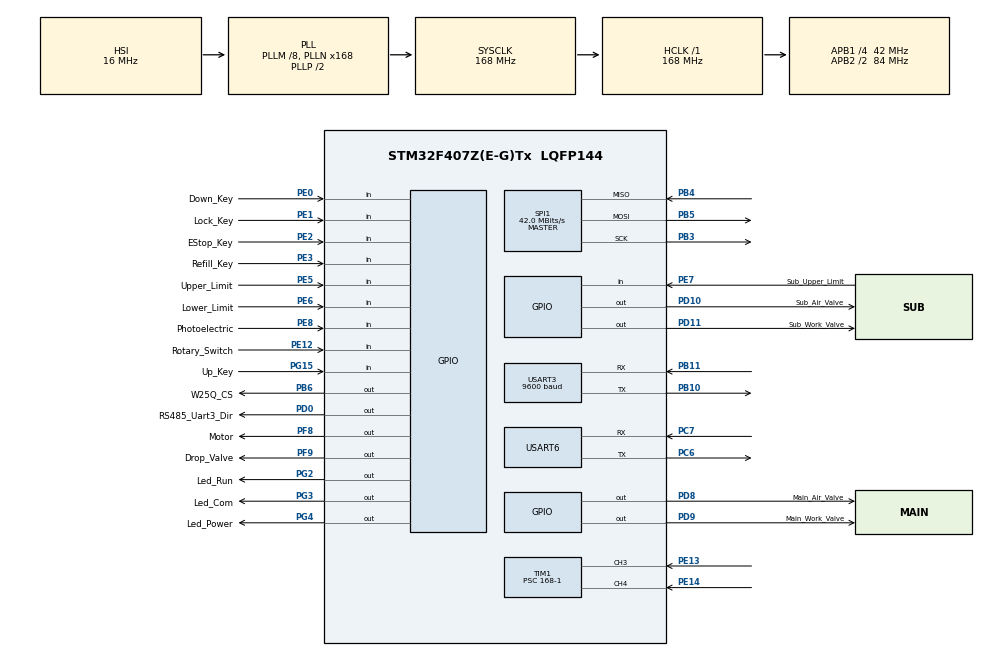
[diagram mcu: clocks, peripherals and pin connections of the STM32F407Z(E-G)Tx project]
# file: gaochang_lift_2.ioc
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Dma.Request0=USART3_TX
Dma.Request1=USART3_RX
Dma.Request2=USART6_RX
Dma.Request3=USART6_TX
Dma.USART3_RX.1.Direction=DMA_PERIPH_TO_MEMORY
Dma.USART3_RX.1.FIFOMode=DMA_FIFOMODE_DISABLE
Dma.USART3_RX.1.Instance=DMA1_Stream1
Dma.USART3_RX.1.MemDataAlignment=DMA_MDATAALIGN_BYTE
Dma.USART3_RX.1.MemInc=DMA_MINC_ENABLE
Dma.USART3_RX.1.Mode=DMA_CIRCULAR
Dma.USART3_RX.1.PeriphDataAlignment=DMA_PDATAALIGN_BYTE
Dma.USART3_RX.1.PeriphInc=DMA_PINC_DISABLE
Dma.USART3_RX.1.Priority=DMA_PRIORITY_LOW
Dma.USART3_TX.0.Direction=DMA_MEMORY_TO_PERIPH
Dma.USART3_TX.0.FIFOMode=DMA_FIFOMODE_DISABLE
Dma.USART3_TX.0.Instance=DMA1_Stream3
Dma.USART3_TX.0.MemDataAlignment=DMA_MDATAALIGN_BYTE
Dma.USART3_TX.0.MemInc=DMA_MINC_ENABLE
Dma.USART3_TX.0.Mode=DMA_NORMAL
Dma.USART3_TX.0.PeriphDataAlignment=DMA_PDATAALIGN_BYTE
Dma.USART3_TX.0.PeriphInc=DMA_PINC_DISABLE
Dma.USART3_TX.0.Priority=DMA_PRIORITY_LOW
Dma.USART6_RX.2.Direction=DMA_PERIPH_TO_MEMORY
Dma.USART6_RX.2.FIFOMode=DMA_FIFOMODE_DISABLE
Dma.USART6_RX.2.Instance=DMA2_Stream1
Dma.USART6_RX.2.MemDataAlignment=DMA_MDATAALIGN_BYTE
Dma.USART6_RX.2.MemInc=DMA_MINC_ENABLE
Dma.USART6_RX.2.Mode=DMA_CIRCULAR
Dma.USART6_RX.2.PeriphDataAlignment=DMA_PDATAALIGN_BYTE
Dma.USART6_RX.2.PeriphInc=DMA_PINC_DISABLE
Dma.USART6_RX.2.Priority=DMA_PRIORITY_LOW
Dma.USART6_TX.3.Direction=DMA_MEMORY_TO_PERIPH
Dma.USART6_TX.3.FIFOMode=DMA_FIFOMODE_DISABLE
Dma.USART6_TX.3.Instance=DMA2_Stream6
Dma.USART6_TX.3.MemDataAlignment=DMA_MDATAALIGN_BYTE
Dma.USART6_TX.3.MemInc=DMA_MINC_ENABLE
Dma.USART6_TX.3.Mode=DMA_NORMAL
Dma.USART6_TX.3.PeriphDataAlignment=DMA_PDATAALIGN_BYTE
Dma.USART6_TX.3.PeriphInc=DMA_PINC_DISABLE
Dma.USART6_TX.3.Priority=DMA_PRIORITY_LOW
FREERTOS.Tasks01=defaultTask,24,128,StartDefaultTask,Default,NULL,Dynamic,NULL,NULL
FREERTOS.configTOTAL_HEAP_SIZE=32768
Mcu.Family=STM32F4
Mcu.Name=STM32F407Z(E-G)Tx
Mcu.Package=LQFP144
NVIC.DMA1_Stream1_IRQn=true\:5\:0\:false\:false\:true\:true\:false\:true\:true
NVIC.DMA1_Stream3_IRQn=true\:5\:0\:false\:false\:true\:true\:false\:true\:true
NVIC.DMA2_Stream1_IRQn=true\:5\:0\:false\:false\:true\:true\:false\:true\:true
NVIC.DMA2_Stream6_IRQn=true\:5\:0\:false\:false\:true\:true\:false\:true\:true
NVIC.PriorityGroup=NVIC_PRIORITYGROUP_4
NVIC.TIM1_BRK_TIM9_IRQn=true\:5\:0\:false\:false\:true\:true\:true\:true\:true
NVIC.TIM1_CC_IRQn=true\:5\:0\:false\:false\:true\:true\:true\:true\:true
NVIC.TIM1_TRG_COM_TIM11_IRQn=true\:5\:0\:false\:false\:true\:true\:true\:true\:true
NVIC.TIM1_UP_TIM10_IRQn=true\:5\:0\:false\:false\:true\:true\:true\:true\:true
NVIC.TIM6_DAC_IRQn=true\:15\:0\:false\:false\:true\:false\:false\:true\:true
NVIC.TimeBase=TIM6_DAC_IRQn
NVIC.TimeBaseIP=TIM6
NVIC.USART3_IRQn=true\:5\:0\:false\:false\:true\:true\:true\:true\:true
NVIC.USART6_IRQn=true\:5\:0\:false\:false\:true\:true\:true\:true\:true
PA13.Mode=Serial_Wire
PA13.Signal=SYS_JTMS-SWDIO
PA14.Mode=Serial_Wire
PA14.Signal=SYS_JTCK-SWCLK
PB10.GPIO_PuPd=GPIO_NOPULL
PB10.Mode=Asynchronous
PB10.Signal=USART3_TX
PB11.GPIO_PuPd=GPIO_PULLUP
PB11.Mode=Asynchronous
PB11.Signal=USART3_RX
PB3.Mode=Full_Duplex_Master
PB3.Signal=SPI1_SCK
PB4.Mode=Full_Duplex_Master
PB4.Signal=SPI1_MISO
PB5.Mode=Full_Duplex_Master
PB5.Signal=SPI1_MOSI
PB6.GPIO_Label=W25Q_CS
PB6.GPIO_PuPd=GPIO_PULLUP
PB6.PinState=GPIO_PIN_SET
PB6.Signal=GPIO_Output
PC6.Mode=Asynchronous
PC6.Signal=USART6_TX
PC7.Mode=Asynchronous
PC7.Signal=USART6_RX
PD0.GPIO_Label=RS485_Uart3_Dir
PD0.Signal=GPIO_Output
PD10.GPIO_Label=Sub_Air_Valve
PD10.GPIO_PuPd=GPIO_PULLDOWN
PD10.PinState=GPIO_PIN_RESET
PD10.Signal=GPIO_Output
PD11.GPIO_Label=Sub_Work_Valve
PD11.GPIO_PuPd=GPIO_PULLDOWN
PD11.PinState=GPIO_PIN_RESET
PD11.Signal=GPIO_Output
PD8.GPIO_Label=Main_Air_Valve
PD8.GPIO_ModeDefaultOutputPP=GPIO_MODE_OUTPUT_PP
PD8.GPIO_PuPd=GPIO_PULLDOWN
PD8.GPIO_Speed=GPIO_SPEED_FREQ_LOW
PD8.PinState=GPIO_PIN_RESET
PD8.Signal=GPIO_Output
PD9.GPIO_Label=Main_Work_Valve
PD9.GPIO_ModeDefaultOutputPP=GPIO_MODE_OUTPUT_PP
PD9.GPIO_PuPd=GPIO_PULLDOWN
PD9.PinState=GPIO_PIN_RESET
PD9.Signal=GPIO_Output
PE0.GPIO_Label=Down_Key
PE0.GPIO_PuPd=GPIO_PULLUP
PE0.Signal=GPIO_Input
PE1.GPIO_Label=Lock_Key
PE1.GPIO_PuPd=GPIO_PULLUP
PE1.Signal=GPIO_Input
PE13.Signal=S_TIM1_CH3
PE14.Signal=S_TIM1_CH4
PE2.GPIO_Label=EStop_Key
PE2.GPIO_PuPd=GPIO_PULLUP
PE2.Signal=GPIO_Input
PE3.GPIO_Label=Refill_Key
PE3.GPIO_PuPd=GPIO_PULLUP
PE3.Signal=GPIO_Input
PE12.GPIO_Label=Rotary_Switch
PE12.GPIO_PuPd=GPIO_PULLUP
PE12.Signal=GPIO_Input
PE5.GPIO_Label=Upper_Limit
PE5.GPIO_PuPd=GPIO_PULLUP
PE5.Signal=GPIO_Input
PE6.GPIO_Label=Lower_Limit
PE6.GPIO_PuPd=GPIO_PULLUP
PE6.Signal=GPIO_Input
PE7.GPIO_Label=Sub_Upper_Limit
PE7.GPIO_PuPd=GPIO_PULLUP
PE7.Signal=GPIO_Input
PE8.GPIO_Label=Photoelectric
PE8.GPIO_PuPd=GPIO_PULLUP
PE8.Signal=GPIO_Input
PF8.GPIO_Label=Motor
PF8.GPIO_PuPd=GPIO_PULLDOWN
PF8.Signal=GPIO_Output
PF9.GPIO_Label=Drop_Valve
PF9.GPIO_PuPd=GPIO_PULLDOWN
PF9.Signal=GPIO_Output
PG15.GPIO_Label=Up_Key
PG15.GPIO_PuPd=GPIO_PULLUP
PG15.Signal=GPIO_Input
PG2.GPIO_Label=Led_Run
PG2.GPIO_PuPd=GPIO_PULLUP
PG2.PinState=GPIO_PIN_SET
PG2.Signal=GPIO_Output
PG3.GPIO_Label=Led_Com
PG3.GPIO_PuPd=GPIO_PULLUP
PG3.PinState=GPIO_PIN_SET
PG3.Signal=GPIO_Output
PG4.GPIO_Label=Led_Power
PG4.GPIO_PuPd=GPIO_PULLUP
PG4.PinState=GPIO_PIN_SET
PG4.Signal=GPIO_Output
ProjectManager.HeapSize=0x200
ProjectManager.StackSize=0x400
ProjectManager.TargetToolchain=MDK-ARM V5.32
RCC.48MHZClocksFreq_Value=84000000
RCC.AHBFreq_Value=168000000
RCC.APB1CLKDivider=RCC_HCLK_DIV4
RCC.APB1Freq_Value=42000000
RCC.APB1TimFreq_Value=84000000
RCC.APB2CLKDivider=RCC_HCLK_DIV2
RCC.APB2Freq_Value=84000000
RCC.APB2TimFreq_Value=168000000
RCC.CortexFreq_Value=168000000
RCC.HCLKFreq_Value=168000000
RCC.HSE_VALUE=25000000
RCC.HSI_VALUE=16000000
RCC.LSE_VALUE=32768
RCC.PLLM=8
RCC.PLLN=168
RCC.SYSCLKFreq_VALUE=168000000
RCC.SYSCLKSource=RCC_SYSCLKSOURCE_PLLCLK
RCC.VCOOutputFreq_Value=336000000
SH.S_TIM1_CH3.0=TIM1_CH3,Input_Capture3_from_TI3
SH.S_TIM1_CH4.0=TIM1_CH4,Input_Capture4_from_TI4
SPI1.CalculateBaudRate=42.0 MBits/s
SPI1.Direction=SPI_DIRECTION_2LINES
SPI1.Mode=SPI_MODE_MASTER
SPI1.VirtualType=VM_MASTER
TIM1.Channel-Input_Capture3_from_TI3=TIM_CHANNEL_3
TIM1.Channel-Input_Capture4_from_TI4=TIM_CHANNEL_4
TIM1.ICPolarity_CH3=TIM_INPUTCHANNELPOLARITY_FALLING
TIM1.ICPolarity_CH4=TIM_INPUTCHANNELPOLARITY_FALLING
TIM1.Period=65535
TIM1.Prescaler=168-1
USART3.BaudRate=9600
USART3.VirtualMode=VM_ASYNC
USART6.VirtualMode=VM_ASYNC
VP_FREERTOS_VS_CMSIS_V2.Mode=CMSIS_V2
VP_SYS_VS_tim6.Mode=TIM6
VP_TIM1_VS_ClockSourceINT.Mode=Internal
board=custom

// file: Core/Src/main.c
/* USER CODE BEGIN Header */
/**
  ******************************************************************************
  * @file           : main.c
  * @brief          : Main program body
  ******************************************************************************
  * @attention
  *
  * Copyright (c) 2026 STMicroelectronics.
  * All rights reserved.
  *
  * This software is licensed under terms that can be found in the LICENSE file
  * in the root directory of this software component.
  * If no LICENSE file comes with this software, it is provided AS-IS.
  *
  ******************************************************************************
  */
/* USER CODE END Header */
#include "main.h"
#include "cmsis_os.h"
#include "dma.h"
#include "spi.h"
#include "tim.h"
#include "usart.h"
#include "gpio.h"

/* USER CODE BEGIN Includes */
#include "FreeRTOS.h"
#include "task.h"
#include "SEGGER_RTT.h"
#include "app_w25qxx.h"
#include "app_product.h"
#include "app_io_map.h"
#include "lift_core.h"
#include "lift_iot.h"
#include "lift_lock.h"     /* 共享变量互斥锁初始化 */
/* 旧双柱头文件已注释：motor.h / encoder.h / safety.h / key.h */
/* #include "app_rs485.h" -- 屏蔽: 上机测试暂不用RS485 */
/* USER CODE END Includes */

/* USER CODE BEGIN PD */
#define BOOT_LED_SELF_TEST     1U

/* USER CODE END PD */

void SystemClock_Config(void);
void MX_FREERTOS_Init(void);

/* USER CODE BEGIN 0 */
static void App_BootLedSelfTest(void)
{
#if BOOT_LED_SELF_TEST
  LED_RUN_OFF();
  LED_COM_OFF();
  LED_POWER_OFF();
  HAL_Delay(150U);

  LED_RUN_ON();
  HAL_Delay(300U);
  LED_RUN_OFF();

  LED_COM_ON();
  HAL_Delay(300U);
  LED_COM_OFF();

  LED_POWER_ON();
  HAL_Delay(300U);
  LED_POWER_OFF();
#endif
}

/* USER CODE END 0 */

int main(void)
{

  /* MCU Configuration--------------------------------------------------------*/

  /* Reset of all peripherals, Initializes the Flash interface and the Systick. */
  HAL_Init();

  /* Configure the system clock */
  SystemClock_Config();

  /* Initialize all configured peripherals */
  MX_GPIO_Init();
  MX_DMA_Init();
  MX_TIM1_Init();
  MX_SPI1_Init();
  MX_USART3_UART_Init();
  MX_USART6_UART_Init();
  /* USER CODE BEGIN 2 */
	SEGGER_RTT_Init();
	elog_init();

	elog_set_fmt(ELOG_LVL_ASSERT, ELOG_FMT_LVL | ELOG_FMT_TAG | ELOG_FMT_TIME);
  elog_set_fmt(ELOG_LVL_ERROR, ELOG_FMT_LVL | ELOG_FMT_TAG | ELOG_FMT_TIME);
  elog_set_fmt(ELOG_LVL_WARN,  ELOG_FMT_LVL | ELOG_FMT_TAG | ELOG_FMT_TIME);
  elog_set_fmt(ELOG_LVL_INFO,  ELOG_FMT_LVL | ELOG_FMT_TAG | ELOG_FMT_TIME);
  elog_set_fmt(ELOG_LVL_DEBUG, ELOG_FMT_ALL & ~ELOG_FMT_FUNC);

	elog_start();
	App_Product_PrintUID();
  elog_i("CLOCK", "[CLOCK] sys=%lu hclk=%lu pclk1=%lu pclk2=%lu rtos_tick_hz=%lu hal_tick=TIM6_1ms",
         (unsigned long)HAL_RCC_GetSysClockFreq(),
         (unsigned long)HAL_RCC_GetHCLKFreq(),
         (unsigned long)HAL_RCC_GetPCLK1Freq(),
         (unsigned long)HAL_RCC_GetPCLK2Freq(),
         (unsigned long)configTICK_RATE_HZ);

	App_BootLedSelfTest();

	/* ===== 大剪举升机初始化序列 ===== */
	App_W25Qxx_System_Init();                    /* 加载 config + stats（内部同步 g_product_type） */
	LiftLock_Init();                         /* 共享变量互斥锁初始化（Scheduler 启动前） */
	LiftIot_Init();                          /* IoT 状态对象清零 */
	App_IO_Map_Init(g_product_type);             /* I/O 映射初始化（按产品类型） */
	LiftCore_Init();                         /* 控制框架初始化（选 ops + 记录 OP_POWER_ON） */

	/* 打印芯片出厂 UID，供工人用 J-Link RTT 读取进行设备绑定 */
	elog_i("SYS", "[SYS] System ready - product_type=%d (%s)",
	       g_product_type, App_Product_TypeName(g_product_type));

	/* 点亮电源指示灯，表示系统启动完成 */
	LED_POWER_ON();

	/* 旧双柱初始化已移除：App_W25Qxx_Height_Load / Motor_Init / Safety_Init / Key_Init / Encoder_Init */
	/* RS485_Init(); -- 屏蔽 */

  /* USER CODE END 2 */

  /* Init scheduler */
  osKernelInitialize();  /* Call init function for freertos objects (in cmsis_os2.c) */
  MX_FREERTOS_Init();

  /* Start scheduler */
  osKernelStart();

  /* We should never get here as control is now taken by the scheduler */

  /* Infinite loop */
  while (1)
  {

  }
}

void SystemClock_Config(void)
{
  RCC_OscInitTypeDef RCC_OscInitStruct = {0};
  RCC_ClkInitTypeDef RCC_ClkInitStruct = {0};

  /** Configure the main internal regulator output voltage
  */
  __HAL_RCC_PWR_CLK_ENABLE();
  __HAL_PWR_VOLTAGESCALING_CONFIG(PWR_REGULATOR_VOLTAGE_SCALE1);

  /** Initializes the RCC Oscillators according to the specified parameters
  * in the RCC_OscInitTypeDef structure.
  */
  RCC_OscInitStruct.OscillatorType = RCC_OSCILLATORTYPE_HSI;
  RCC_OscInitStruct.HSIState = RCC_HSI_ON;
  RCC_OscInitStruct.HSICalibrationValue = RCC_HSICALIBRATION_DEFAULT;
  RCC_OscInitStruct.PLL.PLLState = RCC_PLL_ON;
  RCC_OscInitStruct.PLL.PLLSource = RCC_PLLSOURCE_HSI;
  RCC_OscInitStruct.PLL.PLLM = 8;
  RCC_OscInitStruct.PLL.PLLN = 168;
  RCC_OscInitStruct.PLL.PLLP = RCC_PLLP_DIV2;
  RCC_OscInitStruct.PLL.PLLQ = 4;
  if (HAL_RCC_OscConfig(&RCC_OscInitStruct) != HAL_OK)
  {
    Error_Handler();
  }

  /** Initializes the CPU, AHB and APB buses clocks
  */
  RCC_ClkInitStruct.ClockType = RCC_CLOCKTYPE_HCLK|RCC_CLOCKTYPE_SYSCLK
                              |RCC_CLOCKTYPE_PCLK1|RCC_CLOCKTYPE_PCLK2;
  RCC_ClkInitStruct.SYSCLKSource = RCC_SYSCLKSOURCE_PLLCLK;
  RCC_ClkInitStruct.AHBCLKDivider = RCC_SYSCLK_DIV1;
  RCC_ClkInitStruct.APB1CLKDivider = RCC_HCLK_DIV4;
  RCC_ClkInitStruct.APB2CLKDivider = RCC_HCLK_DIV2;

  if (HAL_RCC_ClockConfig(&RCC_ClkInitStruct, FLASH_LATENCY_5) != HAL_OK)
  {
    Error_Handler();
  }
}

void HAL_TIM_PeriodElapsedCallback(TIM_HandleTypeDef *htim)
{
  if (htim->Instance == TIM6)
  {
    HAL_IncTick();
  }
}

void Error_Handler(void)
{
  __disable_irq();
  while (1)
  {
  }
}

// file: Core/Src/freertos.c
/* USER CODE BEGIN Header */
/**
  ******************************************************************************
  * File Name          : freertos.c
  * Description        : Code for freertos applications
  ******************************************************************************
  * @attention
  *
  * Copyright (c) 2026 STMicroelectronics.
  * All rights reserved.
  *
  * This software is licensed under terms that can be found in the LICENSE file
  * in the root directory of this software component.
  * If no LICENSE file comes with this software, it is provided AS-IS.
  *
  ******************************************************************************
  */
/* USER CODE END Header */

#include "FreeRTOS.h"
#include "task.h"
#include "main.h"
#include "cmsis_os.h"

/* USER CODE BEGIN Includes */
#include "elog.h"
#include "gpio.h"
#include "app_io_map.h"
/* #include "dri_debug.h" -- 屏蔽: 模拟编码器 */
#include "dri_lift.h"        /* 大剪控制任务（替代 dri_motor + dri_safety + dri_key） */
#include "dri_tas_dtu.h"     /* TAS DTU 任务保留 */
/* 旧双柱驱动已注释：dri_motor / dri_safety / dri_key */
/* #include "dri_rs485.h" -- 屏蔽: RS485 */
/* USER CODE END Includes */

/* Definitions for defaultTask */
osThreadId_t defaultTaskHandle;
const osThreadAttr_t defaultTask_attributes = {
  .name = "defaultTask",
  .stack_size = 128 * 4,
  .priority = (osPriority_t) osPriorityNormal,
};

void StartDefaultTask(void *argument);

void MX_FREERTOS_Init(void); /* (MISRA C 2004 rule 8.1) */

void MX_FREERTOS_Init(void) {

  /* Create the thread(s) */
  /* creation of defaultTask */
  defaultTaskHandle = osThreadNew(StartDefaultTask, NULL, &defaultTask_attributes);

  /* USER CODE BEGIN RTOS_THREADS */
  /* add threads, ... */
  /* Debug_Task_Create(); */  /* 调试任务已注释 */
  Lift_Task_Create();
  if (g_lift_task_created != 0U) {
    elog_i("SYS", "[SYS] Lift task created");
  } else {
    elog_e("SYS", "[SYS] Lift task create failed");
  }
  TasDtu_Task_Create();
  if (g_tas_dtu_task_created != 0U) {
    elog_i("SYS", "[SYS] TAS DTU task created");
  } else {
    elog_e("SYS", "[SYS] TAS DTU task create failed");
  }
  /* 旧双柱任务已注释：Control_Task_Create / Safety_Task_Create / Key_Task_Create */
  /* USER CODE END RTOS_THREADS */

}

void StartDefaultTask(void *argument)
{
  for(;;)
  {
    osDelay(1);
  }
}

/* USER CODE BEGIN Application */

void vApplicationMallocFailedHook(void)
{
  App_IO_All_Off();
  elog_e("RTOS", "[RTOS] malloc failed free=%lu min_free=%lu",
         (unsigned long)xPortGetFreeHeapSize(),
         (unsigned long)xPortGetMinimumEverFreeHeapSize());
  taskDISABLE_INTERRUPTS();
  for (;;) {
  }
}

void vApplicationStackOverflowHook(TaskHandle_t xTask, char *pcTaskName)
{
  App_IO_All_Off();
  elog_e("RTOS", "[RTOS] stack overflow task=%s handle=%p free=%lu min_free=%lu",
         (pcTaskName != NULL) ? pcTaskName : "?",
         (void *)xTask,
         (unsigned long)xPortGetFreeHeapSize(),
         (unsigned long)xPortGetMinimumEverFreeHeapSize());
  taskDISABLE_INTERRUPTS();
  for (;;) {
  }
}

/* USER CODE END Application */
